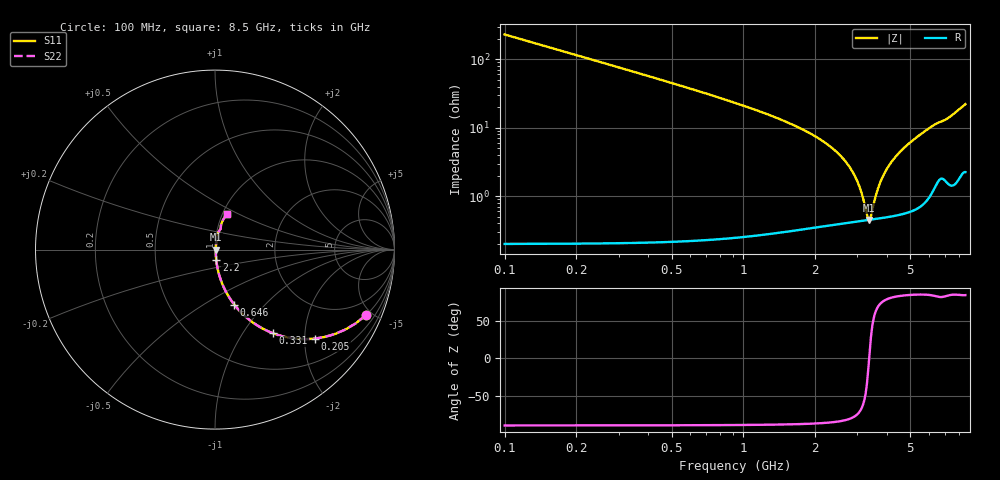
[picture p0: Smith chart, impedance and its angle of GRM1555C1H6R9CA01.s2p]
!Murata Part Number: GRM1555C1H6R9CA01
!These Parameters are Measured in Series Mode Connection
!Data Generated on Mar 30, 2021
!  o--ll--o
!Port1  Port2
!  o------o
!Operation Temp=25[degC], DC Bias Voltage=0[V]
!Freq. Start=100[MHz] Stop=9[GHz] 401[Steps]
# Hz S RI R 50
!Freq.(Hz) S11(Real) S11(Imag) S21(Real) S21(Imag) S12(Real) S12(Imag) S22(Real) S22(Imag)
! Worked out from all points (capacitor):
!   401 points, 100 MHz to 8.5 GHz, reference 50 ohm
!   read as one part in series: C = 6.9 pF near 142 MHz
!   lowest |Z| = 451 mohm at 3.355 GHz (marker M1)
!   series resonance near 3.361 GHz, so ESL is about 320 pH
!   S11 on the Smith chart (normalised r, x): 100 MHz: 1.00, -4.61; 205 MHz: 1.00, -2.24; 331 MHz: 1.00, -1.38; 646 MHz: 1.00, -0.69; 2.2 GHz: 1.01, -0.12; 8.5 GHz: 1.04, +0.44
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1e8  0.8413 -0.3649  0.1587 0.3649  0.1587 0.3649  0.8413 -0.3649
2.05e8  0.5567 -0.4959  0.4433 0.4959  0.4433 0.4959  0.5567 -0.4959
3.31e8  0.3231 -0.4661  0.6769 0.4661  0.6769 0.4661  0.3231 -0.4661
4.57e8  0.198 -0.3964  0.802 0.3964  0.802 0.3964  0.198 -0.3964
6.46e8  0.1073 -0.3062  0.8927 0.3062  0.8927 0.3062  0.1073 -0.3062
1.003e9  0.0442 -0.1996  0.9558 0.1996  0.9558 0.1996  0.0442 -0.1996
1.507e9  0.0176 -0.1198  0.9824 0.1198  0.9824 0.1198  0.0176 -0.1198
2.2e9  0.00721 -0.0596  0.9928 0.0596  0.9928 0.0596  0.00721 -0.0596
2.62e9  0.00517 -0.0346  0.9948 0.0346  0.9948 0.0346  0.00517 -0.0346
2.914e9  0.00458 -0.0198  0.9954 0.0198  0.9954 0.0198  0.00458 -0.0198
3.082e9  0.00444 -0.012  0.9956 0.012  0.9956 0.012  0.00444 -0.012
3.292e9  0.00445 -0.00289  0.9956 0.00289  0.9956 0.00289  0.00445 -0.00289
3.355e9  0.00448 -0.000249  0.9955 0.000249  0.9955 0.000249  0.00448 -0.000249
3.418e9  0.00452 0.00235  0.9955 -0.00235  0.9955 -0.00235  0.00452 0.00235
3.607e9  0.00474 0.00991  0.9953 -0.00991  0.9953 -0.00991  0.00474 0.00991
3.775e9  0.00502 0.0164  0.995 -0.0164  0.995 -0.0164  0.00502 0.0164
4.006e9  0.00554 0.025  0.9945 -0.025  0.9945 -0.025  0.00554 0.025
4.3e9  0.00641 0.0356  0.9936 -0.0356  0.9936 -0.0356  0.00641 0.0356
4.888e9  0.00891 0.0562  0.9911 -0.0562  0.9911 -0.0562  0.00891 0.0562
5.707e9  0.0151 0.085  0.9849 -0.085  0.9849 -0.085  0.0151 0.085
7.114e9  0.0323 0.1275  0.9677 -0.1275  0.9677 -0.1275  0.0323 0.1275
8.5e9  0.0652 0.2009  0.9348 -0.2009  0.9348 -0.2009  0.0652 0.2009
